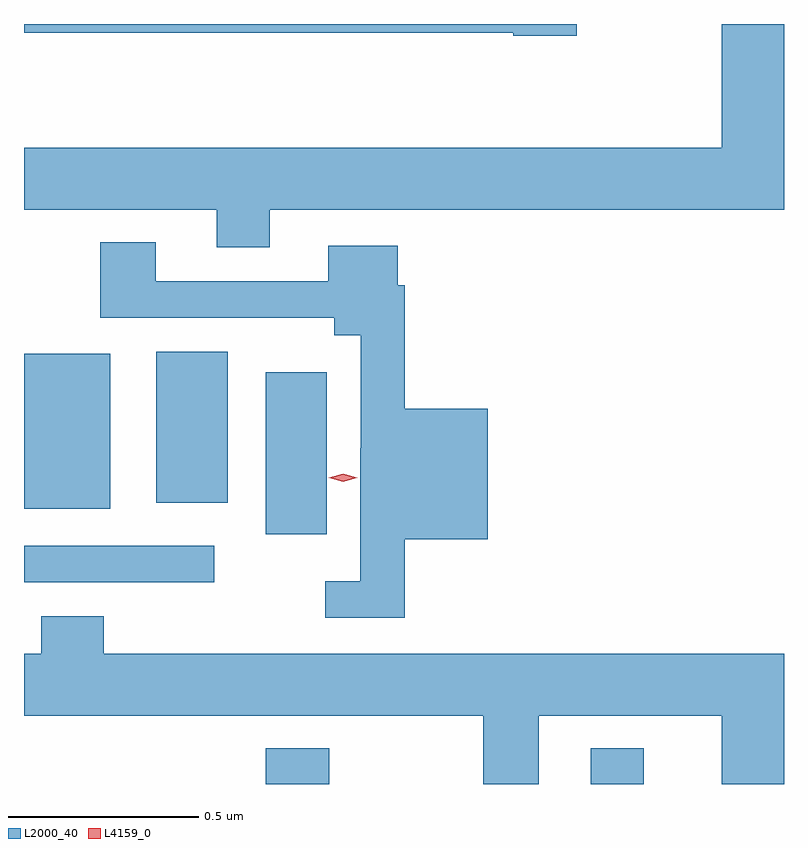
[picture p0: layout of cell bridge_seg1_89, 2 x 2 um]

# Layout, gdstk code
import gdstk
lib = gdstk.Library(unit=1e-6, precision=1e-09)
def R(c, l, rs):  # rectangles x0, y0, x1, y1
    for r in rs: c.add(gdstk.rectangle(r[:2], r[2:], *l))
def P(c, l, *ps):  # polygons
    for p in ps: c.add(gdstk.Polygon(p, *l))
L2000_40 = (2000, 40)
L4159_0 = (4159, 0)

bridge_seg1_89 = lib.new_cell('bridge_seg1_89')
R(bridge_seg1_89, L2000_40, [(547.424,574.197,547.591,574.291), (548.279,574.197,548.419,574.291), (546.788,574.728,547.288,574.824), (547.424,574.854,547.585,575.281), (546.788,574.922,547.015,575.329), (547.136,574.937,547.324,575.335)])
P(bridge_seg1_89, L2000_40, [(547.435,575.708),(548.788,575.708),(548.788,576.197),(548.624,576.197),(548.624,575.872),(546.788,575.872),(546.788,575.708),(547.295,575.708),(547.295,575.609),(547.435,575.609)],
  [(548.243,576.197),(546.788,576.197),(546.788,576.174),(548.076,576.174),(548.076,576.166),(548.243,576.166)],
  [(547.79,574.841),(548.008,574.841),(548.008,575.185),(547.79,575.185),(547.79,575.51),(547.771,575.51),(547.771,575.614),(547.589,575.614),(547.589,575.52),(547.135,575.52),(547.135,575.623),(546.988,575.623),(546.988,575.424),(547.604,575.424),(547.604,575.378),(547.674,575.378),(547.674,575.081),(547.673,575.081),(547.673,574.731),(547.581,574.731),(547.581,574.635),(547.79,574.635)],
  [(548.143,574.376),(548.624,574.376),(548.624,574.197),(548.788,574.197),(548.788,574.54),(546.998,574.54),(546.998,574.639),(546.833,574.639),(546.833,574.54),(546.788,574.54),(546.788,574.376),(547.996,574.376),(547.996,574.197),(548.143,574.197)])
P(bridge_seg1_89, L4159_0, [(547.628,574.993),(547.59,575.003),(547.59,575.003),(547.59,575.003),(547.628,575.013),(547.665,575.003),(547.665,575.003),(547.665,575.003)])

lib.write_gds('bridge_seg1_89.gds')
